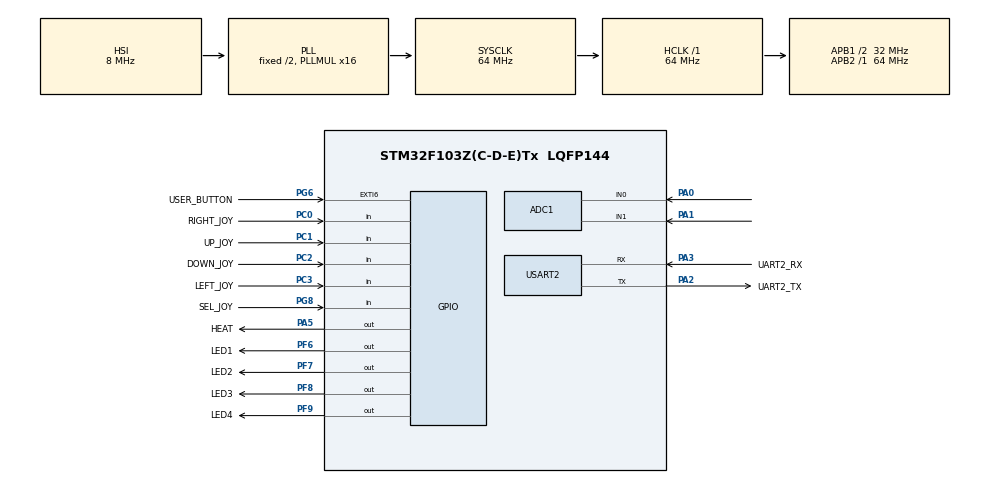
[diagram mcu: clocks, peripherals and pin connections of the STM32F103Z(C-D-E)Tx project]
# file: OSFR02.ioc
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ADC1.Channel-11\#ChannelRegularConversion=ADC_CHANNEL_0
ADC1.Channel-12\#ChannelRegularConversion=ADC_CHANNEL_1
ADC1.Channel-13\#ChannelRegularConversion=ADC_CHANNEL_TEMPSENSOR
ADC1.Channel-14\#ChannelRegularConversion=ADC_CHANNEL_VREFINT
ADC1.NbrOfConversion=4
ADC1.NbrOfConversionFlag=1
ADC1.Rank-11\#ChannelRegularConversion=1
ADC1.Rank-12\#ChannelRegularConversion=2
ADC1.Rank-13\#ChannelRegularConversion=3
ADC1.Rank-14\#ChannelRegularConversion=4
ADC1.SamplingTime-11\#ChannelRegularConversion=ADC_SAMPLETIME_28CYCLES_5
ADC1.SamplingTime-12\#ChannelRegularConversion=ADC_SAMPLETIME_28CYCLES_5
ADC1.SamplingTime-13\#ChannelRegularConversion=ADC_SAMPLETIME_41CYCLES_5
ADC1.SamplingTime-14\#ChannelRegularConversion=ADC_SAMPLETIME_41CYCLES_5
ADC1.master=1
Dma.ADC1.0.Direction=DMA_PERIPH_TO_MEMORY
Dma.ADC1.0.Instance=DMA1_Channel1
Dma.ADC1.0.MemDataAlignment=DMA_MDATAALIGN_HALFWORD
Dma.ADC1.0.MemInc=DMA_MINC_ENABLE
Dma.ADC1.0.Mode=DMA_CIRCULAR
Dma.ADC1.0.PeriphDataAlignment=DMA_PDATAALIGN_HALFWORD
Dma.ADC1.0.PeriphInc=DMA_PINC_DISABLE
Dma.ADC1.0.Priority=DMA_PRIORITY_LOW
Dma.Request0=ADC1
FREERTOS.BinarySemaphores01=keySem
FREERTOS.HEAP_NUMBER=1
FREERTOS.INCLUDE_eTaskGetState=1
FREERTOS.Mutexes01=mutex01
FREERTOS.Queues01=queue01,1,uint16_t,NULL,Dynamic,NULL,NULL
FREERTOS.Tasks01=led1Task,0,128,vLed1Task,Default,NULL,Dynamic,NULL,NULL;led2Task,0,128,vLed2Task,Default,NULL,Dynamic,NULL,NULL;led3Task,0,128,vLed3Task,Default,NULL,Dynamic,NULL,NULL;led4Task,0,128,vLed4Task,Default,NULL,Dynamic,NULL,NULL;printfTask,0,128,vPrintfTask,Default,NULL,Dynamic,NULL,NULL;sensor1Task,1,128,vSensor1Task,Default,NULL,Dynamic,NULL,NULL
FREERTOS.Timers01=timer01,Callback01,osTimerPeriodic,Default,NULL,Dynamic,NULL
FREERTOS.configTIMER_TASK_STACK_DEPTH=128
FREERTOS.configTOTAL_HEAP_SIZE=10240
FREERTOS.configUSE_TIMERS=1
FREERTOS.configUSE_TRACE_FACILITY=1
Mcu.Family=STM32F1
Mcu.Name=STM32F103Z(C-D-E)Tx
Mcu.Package=LQFP144
NVIC.DMA1_Channel1_IRQn=true\:5\:0\:false\:true\:true\:1\:true
NVIC.EXTI9_5_IRQn=true\:15\:0\:true\:true\:true\:2\:true
NVIC.PriorityGroup=NVIC_PRIORITYGROUP_4
NVIC.TIM7_IRQn=true\:0\:0\:false\:false\:true\:false
NVIC.TimeBase=TIM7_IRQn
NVIC.TimeBaseIP=TIM7
PA0-WKUP.Signal=ADCx_IN0
PA1.Signal=ADCx_IN1
PA13.Mode=Trace_Asynchronous_SW
PA13.Signal=SYS_JTMS-SWDIO
PA14.Mode=Trace_Asynchronous_SW
PA14.Signal=SYS_JTCK-SWCLK
PA2.GPIO_Label=UART2_TX
PA2.Mode=Asynchronous
PA2.Signal=USART2_TX
PA3.GPIO_Label=UART2_RX
PA3.Mode=Asynchronous
PA3.Signal=USART2_RX
PA5.GPIO_Label=HEAT
PA5.Signal=GPIO_Output
PB3.Mode=Trace_Asynchronous_SW
PB3.Signal=SYS_JTDO-TRACESWO
PC0.GPIO_Label=RIGHT_JOY
PC0.Signal=GPIO_Input
PC1.GPIO_Label=UP_JOY
PC1.Signal=GPIO_Input
PC2.GPIO_Label=DOWN_JOY
PC2.Signal=GPIO_Input
PC3.GPIO_Label=LEFT_JOY
PC3.Signal=GPIO_Input
PF6.GPIO_Label=LED1
PF6.Signal=GPIO_Output
PF7.GPIO_Label=LED2
PF7.Signal=GPIO_Output
PF8.GPIO_Label=LED3
PF8.Signal=GPIO_Output
PF9.GPIO_Label=LED4
PF9.Signal=GPIO_Output
PG6.GPIO_Label=USER_BUTTON
PG6.GPIO_ModeDefaultEXTI=GPIO_MODE_IT_FALLING
PG6.GPIO_PuPd=GPIO_PULLUP
PG6.Signal=GPXTI6
PG8.GPIO_Label=SEL_JOY
PG8.Signal=GPIO_Input
ProjectManager.HeapSize=0x200
ProjectManager.StackSize=0x400
ProjectManager.TargetToolchain=MDK-ARM V5
RCC.ADCPresc=RCC_ADCPCLK2_DIV6
RCC.AHBFreq_Value=64000000
RCC.APB1CLKDivider=RCC_HCLK_DIV2
RCC.APB1Freq_Value=32000000
RCC.APB1TimFreq_Value=64000000
RCC.APB2Freq_Value=64000000
RCC.APB2TimFreq_Value=64000000
RCC.HCLKFreq_Value=64000000
RCC.PLLMUL=RCC_PLL_MUL16
RCC.SYSCLKFreq_VALUE=64000000
RCC.SYSCLKSource=RCC_SYSCLKSOURCE_PLLCLK
RCC.USBFreq_Value=64000000
SH.ADCx_IN0.0=ADC1_IN0,IN0
SH.ADCx_IN1.0=ADC1_IN1,IN1
USART2.VirtualMode=VM_ASYNC
VP_ADC1_TempSens_Input.Mode=IN-TempSens
VP_ADC1_Vref_Input.Mode=IN-Vrefint
VP_FREERTOS_VS_ENABLE.Mode=Enabled
VP_SYS_VS_tim7.Mode=TIM7
board=OSFR02

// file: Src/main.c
/**
  ******************************************************************************
  * File Name          : main.c
  * Description        : Main program body
  ******************************************************************************
  * This notice applies to any and all portions of this file
  * that are not between comment pairs USER CODE BEGIN and
  * USER CODE END. Other portions of this file, whether
  * inserted by the user or by software development tools
  * are owned by their respective copyright owners.
  *
  * Copyright (c) 2017 STMicroelectronics International N.V.
  * All rights reserved.
  *
  * Redistribution and use in source and binary forms, with or without
  * modification, are permitted, provided that the following conditions are met:
  *
  * 1. Redistribution of source code must retain the above copyright notice,
  *    this list of conditions and the following disclaimer.
  * 2. Redistributions in binary form must reproduce the above copyright notice,
  *    this list of conditions and the following disclaimer in the documentation
  *    and/or other materials provided with the distribution.
  * 3. Neither the name of STMicroelectronics nor the names of other
  *    contributors to this software may be used to endorse or promote products
  *    derived from this software without specific written permission.
  * 4. This software, including modifications and/or derivative works of this
  *    software, must execute solely and exclusively on microcontroller or
  *    microprocessor devices manufactured by or for STMicroelectronics.
  * 5. Redistribution and use of this software other than as permitted under
  *    this license is void and will automatically terminate your rights under
  *    this license.
  *
  * THIS SOFTWARE IS PROVIDED BY STMICROELECTRONICS AND CONTRIBUTORS "AS IS"
  * AND ANY EXPRESS, IMPLIED OR STATUTORY WARRANTIES, INCLUDING, BUT NOT
  * LIMITED TO, THE IMPLIED WARRANTIES OF MERCHANTABILITY, FITNESS FOR A
  * PARTICULAR PURPOSE AND NON-INFRINGEMENT OF THIRD PARTY INTELLECTUAL PROPERTY
  * RIGHTS ARE DISCLAIMED TO THE FULLEST EXTENT PERMITTED BY LAW. IN NO EVENT
  * SHALL STMICROELECTRONICS OR CONTRIBUTORS BE LIABLE FOR ANY DIRECT, INDIRECT,
  * INCIDENTAL, SPECIAL, EXEMPLARY, OR CONSEQUENTIAL DAMAGES (INCLUDING, BUT NOT
  * LIMITED TO, PROCUREMENT OF SUBSTITUTE GOODS OR SERVICES; LOSS OF USE, DATA,
  * OR PROFITS; OR BUSINESS INTERRUPTION) HOWEVER CAUSED AND ON ANY THEORY OF
  * LIABILITY, WHETHER IN CONTRACT, STRICT LIABILITY, OR TORT (INCLUDING
  * NEGLIGENCE OR OTHERWISE) ARISING IN ANY WAY OUT OF THE USE OF THIS SOFTWARE,
  * EVEN IF ADVISED OF THE POSSIBILITY OF SUCH DAMAGE.
  *
  ******************************************************************************
  */
#include "main.h"
#include "stm32f1xx_hal.h"
#include "cmsis_os.h"
#include "adc.h"
#include "dma.h"
#include "usart.h"
#include "gpio.h"

/* USER CODE BEGIN Includes */
#include "open103z.h"
/* USER CODE END Includes */

/* USER CODE BEGIN PV */
/* Private variables ---------------------------------------------------------*/

/* USER CODE END PV */

void SystemClock_Config(void);
void MX_FREERTOS_Init(void);
static void MX_NVIC_Init(void);

/* USER CODE BEGIN PFP */
/* Private function prototypes -----------------------------------------------*/

/* USER CODE END PFP */

/* USER CODE BEGIN 0 */
  char character[10];
/* USER CODE END 0 */

int main(void)
{

  /* MCU Configuration----------------------------------------------------------*/

  /* Reset of all peripherals, Initializes the Flash interface and the Systick. */
  HAL_Init();

  /* Configure the system clock */
  SystemClock_Config();

  /* Initialize all configured peripherals */
  MX_GPIO_Init();
  MX_DMA_Init();
  MX_USART2_UART_Init();
  MX_ADC1_Init();

  /* Initialize interrupts */
  MX_NVIC_Init();

  /* USER CODE BEGIN 2 */
  BSP_LED_On(LED1);
  HAL_Delay(200);
  BSP_LED_On(LED2);
  HAL_Delay(200);
  BSP_LED_On(LED3);
  HAL_Delay(200);
  BSP_LED_On(LED4);
  HAL_Delay(200);
  BSP_LED_Off(LED1);
  HAL_Delay(200);
  BSP_LED_Off(LED2);
  HAL_Delay(200);
  BSP_LED_Off(LED3);
  HAL_Delay(200);
  BSP_LED_Off(LED4);
  HAL_Delay(200);
//  setvbuf(stdin, NULL, _IONBF, 0);
//  char c =getchar();
 // printf("I get:%c",c );
 // printf("Hello world!\n");

  /* Init only, trace starts later...*/
 // vTraceEnable(TRC_INIT);
 //snapshot trace starts /
  //vTraceEnable(TRC_START);
  /* stream trace */
  //vTraceEnable(TRC_INIT);
 // vTraceEnable(TRC_START_AWAIT_HOST);

//void vTraceStop(void)

  /* USER CODE END 2 */

  /* Call init function for freertos objects (in freertos.c) */
  MX_FREERTOS_Init();

  /* Start scheduler */
  osKernelStart();

  /* We should never get here as control is now taken by the scheduler */

  /* Infinite loop */
  while (1)
  {

  }

}

/** System Clock Configuration
*/
void SystemClock_Config(void)
{

  RCC_OscInitTypeDef RCC_OscInitStruct;
  RCC_ClkInitTypeDef RCC_ClkInitStruct;
  RCC_PeriphCLKInitTypeDef PeriphClkInit;

    /**Initializes the CPU, AHB and APB busses clocks
    */
  RCC_OscInitStruct.OscillatorType = RCC_OSCILLATORTYPE_HSI;
  RCC_OscInitStruct.HSIState = RCC_HSI_ON;
  RCC_OscInitStruct.HSICalibrationValue = 16;
  RCC_OscInitStruct.PLL.PLLState = RCC_PLL_ON;
  RCC_OscInitStruct.PLL.PLLSource = RCC_PLLSOURCE_HSI_DIV2;
  RCC_OscInitStruct.PLL.PLLMUL = RCC_PLL_MUL16;
  if (HAL_RCC_OscConfig(&RCC_OscInitStruct) != HAL_OK)
  {
    _Error_Handler(__FILE__, __LINE__);
  }

    /**Initializes the CPU, AHB and APB busses clocks
    */
  RCC_ClkInitStruct.ClockType = RCC_CLOCKTYPE_HCLK|RCC_CLOCKTYPE_SYSCLK
                              |RCC_CLOCKTYPE_PCLK1|RCC_CLOCKTYPE_PCLK2;
  RCC_ClkInitStruct.SYSCLKSource = RCC_SYSCLKSOURCE_PLLCLK;
  RCC_ClkInitStruct.AHBCLKDivider = RCC_SYSCLK_DIV1;
  RCC_ClkInitStruct.APB1CLKDivider = RCC_HCLK_DIV2;
  RCC_ClkInitStruct.APB2CLKDivider = RCC_HCLK_DIV1;

  if (HAL_RCC_ClockConfig(&RCC_ClkInitStruct, FLASH_LATENCY_2) != HAL_OK)
  {
    _Error_Handler(__FILE__, __LINE__);
  }

  PeriphClkInit.PeriphClockSelection = RCC_PERIPHCLK_ADC;
  PeriphClkInit.AdcClockSelection = RCC_ADCPCLK2_DIV6;
  if (HAL_RCCEx_PeriphCLKConfig(&PeriphClkInit) != HAL_OK)
  {
    _Error_Handler(__FILE__, __LINE__);
  }

    /**Configure the Systick interrupt time
    */
  HAL_SYSTICK_Config(HAL_RCC_GetHCLKFreq()/1000);

    /**Configure the Systick
    */
  HAL_SYSTICK_CLKSourceConfig(SYSTICK_CLKSOURCE_HCLK);

  /* SysTick_IRQn interrupt configuration */
  HAL_NVIC_SetPriority(SysTick_IRQn, 15, 0);
}

/** NVIC Configuration
*/
static void MX_NVIC_Init(void)
{
  /* DMA1_Channel1_IRQn interrupt configuration */
  HAL_NVIC_SetPriority(DMA1_Channel1_IRQn, 5, 0);
  HAL_NVIC_EnableIRQ(DMA1_Channel1_IRQn);
  /* EXTI9_5_IRQn interrupt configuration */
  HAL_NVIC_SetPriority(EXTI9_5_IRQn, 15, 0);
  HAL_NVIC_EnableIRQ(EXTI9_5_IRQn);
}

void HAL_TIM_PeriodElapsedCallback(TIM_HandleTypeDef *htim)
{
  if (htim->Instance == TIM7) {
    HAL_IncTick();
  }
}

void _Error_Handler(char * file, int line)
{
  while(1)
  {
  }
}

/************************ (C) COPYRIGHT STMicroelectronics *****END OF FILE****/

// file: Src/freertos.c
/**
  ******************************************************************************
  * File Name          : freertos.c
  * Description        : Code for freertos applications
  ******************************************************************************
  * This notice applies to any and all portions of this file
  * that are not between comment pairs USER CODE BEGIN and
  * USER CODE END. Other portions of this file, whether
  * inserted by the user or by software development tools
  * are owned by their respective copyright owners.
  *
  * Copyright (c) 2017 STMicroelectronics International N.V.
  * All rights reserved.
  *
  * Redistribution and use in source and binary forms, with or without
  * modification, are permitted, provided that the following conditions are met:
  *
  * 1. Redistribution of source code must retain the above copyright notice,
  *    this list of conditions and the following disclaimer.
  * 2. Redistributions in binary form must reproduce the above copyright notice,
  *    this list of conditions and the following disclaimer in the documentation
  *    and/or other materials provided with the distribution.
  * 3. Neither the name of STMicroelectronics nor the names of other
  *    contributors to this software may be used to endorse or promote products
  *    derived from this software without specific written permission.
  * 4. This software, including modifications and/or derivative works of this
  *    software, must execute solely and exclusively on microcontroller or
  *    microprocessor devices manufactured by or for STMicroelectronics.
  * 5. Redistribution and use of this software other than as permitted under
  *    this license is void and will automatically terminate your rights under
  *    this license.
  *
  * THIS SOFTWARE IS PROVIDED BY STMICROELECTRONICS AND CONTRIBUTORS "AS IS"
  * AND ANY EXPRESS, IMPLIED OR STATUTORY WARRANTIES, INCLUDING, BUT NOT
  * LIMITED TO, THE IMPLIED WARRANTIES OF MERCHANTABILITY, FITNESS FOR A
  * PARTICULAR PURPOSE AND NON-INFRINGEMENT OF THIRD PARTY INTELLECTUAL PROPERTY
  * RIGHTS ARE DISCLAIMED TO THE FULLEST EXTENT PERMITTED BY LAW. IN NO EVENT
  * SHALL STMICROELECTRONICS OR CONTRIBUTORS BE LIABLE FOR ANY DIRECT, INDIRECT,
  * INCIDENTAL, SPECIAL, EXEMPLARY, OR CONSEQUENTIAL DAMAGES (INCLUDING, BUT NOT
  * LIMITED TO, PROCUREMENT OF SUBSTITUTE GOODS OR SERVICES; LOSS OF USE, DATA,
  * OR PROFITS; OR BUSINESS INTERRUPTION) HOWEVER CAUSED AND ON ANY THEORY OF
  * LIABILITY, WHETHER IN CONTRACT, STRICT LIABILITY, OR TORT (INCLUDING
  * NEGLIGENCE OR OTHERWISE) ARISING IN ANY WAY OUT OF THE USE OF THIS SOFTWARE,
  * EVEN IF ADVISED OF THE POSSIBILITY OF SUCH DAMAGE.
  *
  ******************************************************************************
  */

#include "FreeRTOS.h"
#include "task.h"
#include "cmsis_os.h"

/* USER CODE BEGIN Includes */
#include "adc.h"
#include "solder.h"
#include "usart.h"
#include "stdio.h"
#include "open103z.h"
/* USER CODE END Includes */

osThreadId led1TaskHandle;
osThreadId led2TaskHandle;
osThreadId led3TaskHandle;
osThreadId led4TaskHandle;
osThreadId printfTaskHandle;
osThreadId sensor1TaskHandle;
osMessageQId queue01Handle;
osTimerId timer01Handle;
osMutexId mutex01Handle;
osSemaphoreId keySemHandle;

/* USER CODE BEGIN Variables */

// used to detect and latch errors */
__IO uint32_t HighPriorityThreadCycles = 0, MediumPriorityThreadCycles = 0, LowPriorityThreadCycles = 0;
uint32_t ProducerValue = 0, ConsumerValue = 0;
char  cPrint[1024];
volatile uint16_t uiADC[10];
char  cGetChar[1024];
osMessageQId osQueue;
#define QUEUE_SIZE        (uint32_t) 1
/* The number of items the queue can hold.  This is 1 as the Rx task will
remove items as they are added so the Tx task should always find the queue
empty. */
#define QUEUE_LENGTH             (1)

/* The rate at which the Tx task sends to the queue. */
#define TX_DELAY                 (500)

/* The value that is sent from the Tx task to the Rx task on the queue. */
#define QUEUED_VALUE             (100)

/* The length of time the LED will remain on for.  It is on just long enough
to be able to see with the human eye so as not to distort the power readings too
much. */
#define LED_TOGGLE_DELAY         (20)
/* USER CODE END Variables */

void vLed1Task(void const * argument);
void vLed2Task(void const * argument);
void vLed3Task(void const * argument);
void vLed4Task(void const * argument);
void vPrintfTask(void const * argument);
void vSensor1Task(void const * argument);
void Callback01(void const * argument);

void MX_FREERTOS_Init(void); /* (MISRA C 2004 rule 8.1) */

/* USER CODE BEGIN FunctionPrototypes */

/* Private typedef -----------------------------------------------------------*/
/* Private define ------------------------------------------------------------*/
#define VDD_APPLI                      ((uint32_t) 3300)   /* Value of analog voltage supply Vdda (unit: mV) */
#define RANGE_12BITS                   ((uint32_t) 4095)   /* Max value with a full range of 12 bits */
#define USERBUTTON_CLICK_COUNT_MAX     ((uint32_t)    4)   /* Maximum value of variable "UserButtonClickCount" */

#define ADCCONVERTEDVALUES_BUFFER_SIZE ((uint32_t)    3)   /* Size of array containing ADC converted values: set to ADC sequencer number of ranks converted, to have a rank in each address */

/* Internal temperature sensor: constants data used for indicative values in  */
/* this example. Refer to device datasheet for min/typ/max values.            */
/* For more accurate values, device should be calibrated on offset and slope  */
/* for application temperature range.                                         */
#define INTERNAL_TEMPSENSOR_V25        ((int32_t)1430)         /* Internal temperature sensor, parameter V25 (unit: mV). Refer to device datasheet for min/typ/max values. */
#define INTERNAL_TEMPSENSOR_AVGSLOPE   ((int32_t)4300)         /* Internal temperature sensor, parameter Avg_Slope (unit: uV/DegCelsius). Refer to device datasheet for min/typ/max values. */                                                               /* This calibration parameter is intended to calculate the actual VDDA from Vrefint ADC measurement. */

#define mutexSHORT_DELAY     ((uint32_t) 20)
#define mutexNO_DELAY        ((uint32_t) 0)
#define mutexTWO_TICK_DELAY  ((uint32_t) 2)

/* Private macro -------------------------------------------------------------*/

/**
  * @brief  Computation of temperature (unit: degree Celsius) from the internal
  *         temperature sensor measurement by ADC.
  *         Computation is using temperature sensor standard parameters (refer
  *         to device datasheet).
  *         Computation formula:
  *         Temperature = (VTS - V25)/Avg_Slope + 25
  *         with VTS = temperature sensor voltage
  *              Avg_Slope = temperature sensor slope (unit: uV/DegCelsius)
  *              V25 = temperature sensor @25degC and Vdda 3.3V (unit: mV)
  *         Calculation validity conditioned to settings:
  *          - ADC resolution 12 bits (need to scale value if using a different
  *            resolution).
  *          - Power supply of analog voltage Vdda 3.3V (need to scale value
  *            if using a different analog voltage supply value).
  * @param TS_ADC_DATA: Temperature sensor digital value measured by ADC
  * @retval None
  */
#define COMPUTATION_TEMPERATURE_STD_PARAMS(TS_ADC_DATA)                        \
  ((((int32_t)(INTERNAL_TEMPSENSOR_V25 - (((TS_ADC_DATA) * VDD_APPLI) / RANGE_12BITS)   \
     ) * 1000                                                                  \
    ) / INTERNAL_TEMPSENSOR_AVGSLOPE                                           \
   ) + 25                                                                      \
  )

/**
  * @brief  Computation of voltage (unit: mV) from ADC measurement digital
  *         value on range 12 bits.
  *         Calculation validity conditioned to settings:
  *          - ADC resolution 12 bits (need to scale value if using a different
  *            resolution).
  *          - Power supply of analog voltage Vdda 3.3V (need to scale value
  *            if using a different analog voltage supply value).
  * @param ADC_DATA: Digital value measured by ADC
  * @retval None
  */
#define COMPUTATION_DIGITAL_12BITS_TO_VOLTAGE(ADC_DATA)                        \
  ( (ADC_DATA) * VDD_APPLI / RANGE_12BITS)
/* USER CODE END FunctionPrototypes */

/* Hook prototypes */

/* Init FreeRTOS */

void MX_FREERTOS_Init(void) {

  /* Create the mutex(es) */
  /* definition and creation of mutex01 */
  osMutexDef(mutex01);
  mutex01Handle = osMutexCreate(osMutex(mutex01));

  /* Create the semaphores(s) */
  /* definition and creation of keySem */
  osSemaphoreDef(keySem);
  keySemHandle = osSemaphoreCreate(osSemaphore(keySem), 1);

  /* Create the timer(s) */
  /* definition and creation of timer01 */
  osTimerDef(timer01, Callback01);
  timer01Handle = osTimerCreate(osTimer(timer01), osTimerPeriodic, NULL);

  /* USER CODE BEGIN RTOS_TIMERS */
  /* start timers, add new ones, ... */
//   osTimerStart(timer01Handle, 200);
  /* USER CODE END RTOS_TIMERS */

  /* Create the thread(s) */
  /* definition and creation of led1Task */
  osThreadDef(led1Task, vLed1Task, osPriorityNormal, 0, 128);
  led1TaskHandle = osThreadCreate(osThread(led1Task), NULL);

  /* definition and creation of led2Task */
  osThreadDef(led2Task, vLed2Task, osPriorityNormal, 0, 128);
  led2TaskHandle = osThreadCreate(osThread(led2Task), NULL);

  /* definition and creation of led3Task */
//  osThreadDef(led3Task, vLed3Task, osPriorityNormal, 0, 128);
//  led3TaskHandle = osThreadCreate(osThread(led3Task), NULL);

//  /* definition and creation of led4Task */
//  osThreadDef(led4Task, vLed4Task, osPriorityNormal, 0, 128);
//  led4TaskHandle = osThreadCreate(osThread(led4Task), NULL);

//  /* definition and creation of printfTask */
//  osThreadDef(printfTask, vPrintfTask, osPriorityNormal, 0, 128);
//  printfTaskHandle = osThreadCreate(osThread(printfTask), NULL);

//  /* definition and creation of sensor1Task */
//  osThreadDef(sensor1Task, vSensor1Task, osPriorityAboveNormal, 0, 128);
//  sensor1TaskHandle = osThreadCreate(osThread(sensor1Task), NULL);

  /* USER CODE BEGIN RTOS_THREADS */
//  /* add threads, ... */
  /* USER CODE END RTOS_THREADS */

  /* Create the queue(s) */
  /* definition and creation of queue01 */
  osMessageQDef(queue01, 1, uint16_t);
  queue01Handle = osMessageCreate(osMessageQ(queue01), NULL);

}

/* vLed1Task function */
void vLed1Task(void const * argument)
{

  /* USER CODE BEGIN vLed1Task */
  //this task is producer
  /* Infinite loop */
  for (;;)
  {
    /* Place this thread into the blocked state until it is time to run again.
       The kernel will place the MCU into the Retention low power sleep state
       when the idle thread next runs. */
    osDelay(TX_DELAY);

    /* Send to the queue - causing the queue receive thread to flash its LED.
       It should not be necessary to block on the queue send because the Rx
       thread will already have removed the last queued item. */
    osMessagePut(queue01Handle, (uint32_t)QUEUED_VALUE, 0);
  }
  /* USER CODE END vLed1Task */
}

/* vLed2Task function */
void vLed2Task(void const * argument)
{
  /* USER CODE BEGIN vLed2Task */
  //this task is consumer
  osEvent event;
  /* Infinite loop */
  for (;;)
  {
    /* Wait until something arrives in the queue. */
    event = osMessageGet(queue01Handle, osWaitForever);

    /*  To get here something must have arrived, but is it the expected
    value?  If it is, turn the LED on for a short while. */
    if (event.status == osEventMessage)
    {
      if (event.value.v == QUEUED_VALUE)
      {
        BSP_LED_On(LED1);
        BSP_LED_On(LED2);
        BSP_LED_On(LED3);
        BSP_LED_On(LED4);
        osDelay(LED_TOGGLE_DELAY);
        BSP_LED_Off(LED1);
        BSP_LED_Off(LED2);
        BSP_LED_Off(LED3);
        BSP_LED_Off(LED4);
      }
    }
  }
  /* USER CODE END vLed2Task */
}

/* vLed3Task function */
void vLed3Task(void const * argument)
{
  /* USER CODE BEGIN vLed3Task */
  (void) argument;
  /* Infinite loop */
  for (;;)
  {
    /* Keep attempting to obtain the mutex.  We should only obtain it when
    the medium-priority thread has suspended itself, which in turn should only
    happen when the high-priority thread is also suspended */
    if (osMutexWait(mutex01Handle, 0) == osOK)
    {
      /* Is the haigh and medium-priority threads suspended? */
      if ((osThreadGetState(led1TaskHandle) != osThreadSuspended) || (osThreadGetState(led2TaskHandle) != osThreadSuspended))
      {
        /* Toggle LED3 to indicate error */
        BSP_LED_Toggle(LED3);
      }
      else
      {
        /* Keep count of the number of cycles this task has performed
        so a stall can be detected */
        LowPriorityThreadCycles++;

        /* We can resume the other tasks here even though they have a
        higher priority than the this thread. When they execute they
        will attempt to obtain the mutex but fail because the low-priority
        thread is still the mutex holder.  this thread will then inherit
        the higher priority.  The medium-priority thread will block indefinitely
        when it attempts to obtain the mutex, the high-priority thread will only
        block for a fixed period and an error will be latched if the
        high-priority thread has not returned the mutex by the time this
        fixed period has expired */
        osThreadResume(led2TaskHandle);
        osThreadResume(led1TaskHandle);

        /* The other two tasks should now have executed and no longer
        be suspended */
        if ((osThreadGetState(led1TaskHandle) == osThreadSuspended) || (osThreadGetState(led2TaskHandle) == osThreadSuspended))
        {
          /* Toggle LED3 to indicate error */
          BSP_LED_Toggle(LED3);
        }

        /* Release the mutex, disinheriting the higher priority again */
        if (osMutexRelease(mutex01Handle) != osOK)
        {
          /* Toggle LED3 to indicate error */
          BSP_LED_Toggle(LED3);
        }
      }
    }
    #if configUSE_PREEMPTION == 0
    {
      taskYIELD();
    }
#endif
  }
  /* USER CODE END vLed3Task */
}

/* vLed4Task function */
void vLed4Task(void const * argument)
{
  /* USER CODE BEGIN vLed4Task */
  /* Infinite loop */
  for(;;)
  {
    BSP_LED_Toggle(LED4);
    osDelay(100);
  }
  /* USER CODE END vLed4Task */
}

/* vPrintfTask function */
void vPrintfTask(void const * argument)
{
  /* USER CODE BEGIN vPrintfTask */
  /* Infinite loop */
  for(;;)
  {
    //temperature uiADC[2]

    //VOL  uiADC[3]
//    printf("Temperature now: %d \n",COMPUTATION_TEMPERATURE_STD_PARAMS(uiADC[2]));
//    printf("voltage now: %d \n",COMPUTATION_DIGITAL_12BITS_TO_VOLTAGE(uiADC[3]));
//    printf("Temperature now: %d \n",(uiADC[0]));
//    printf("voltage now: %d \n",(uiADC[3]));
    printf("realTemp: %d \n",realTemp);
//    char _ok[] = "OK";
//    HAL_StatusTypeDef state;
//    state = HAL_UART_Transmit_IT(&huart2,(uint8_t *)_ok, 1) ;
//    if (state  != HAL_OK)
//    {
//       traceString UART_Error = xTraceRegisterString("UART_STATE");
//       vTracePrintF(UART_Error,"ERROR %d",state);
//    }
    osDelay(500);

  }
  /* USER CODE END vPrintfTask */
}

/* vSensor1Task function */
void vSensor1Task(void const * argument)
{
  /* USER CODE BEGIN vSensor1Task */
  /* Infinite loop */
     /* Start ADC conversion on regular group with transfer by DMA */
if (HAL_ADC_Start_DMA(&hadc1,
                        (uint32_t *)uiADC,
                        4
                       ) != HAL_OK)
  {
    /* Start Error */
    Error_Handler();
  }
  /* Infinite loop */
  for(;;)
  {
    HAL_ADC_Start(&hadc1);
    HAL_ADC_PollForConversion(&hadc1,0xff);
    vTempCtrl(uiADC[0]);
//    uiADC = HAL_ADC_GetValue(&hadc1);
    osDelay(1);
  }
  /* USER CODE END vSensor1Task */
}

/* Callback01 function */
void Callback01(void const * argument)
{
  /* USER CODE BEGIN Callback01 */
   BSP_LED_Toggle(LED1);
  /* USER CODE END Callback01 */
}

/* USER CODE BEGIN Application */
/**
  * @brief  Pre Sleep Processing
  * @param  ulExpectedIdleTime: Expected time in idle state
  * @retval None
  */
void PreSleepProcessing(uint32_t * ulExpectedIdleTime)
{
  /* Called by the kernel before it places the MCU into a sleep mode because
  configPRE_SLEEP_PROCESSING() is #defined to PreSleepProcessing().

  NOTE:  Additional actions can be taken here to get the power consumption
  even lower.  For example, peripherals can be turned off here, and then back
  on again in the post sleep processing function.  For maximum power saving
  ensure all unused pins are in their lowest power state. */

  /*
    (*ulExpectedIdleTime) is set to 0 to indicate that PreSleepProcessing contains
    its own wait for interrupt or wait for event instruction and so the kernel vPortSuppressTicksAndSleep
    function does not need to execute the wfi instruction
  */
  *ulExpectedIdleTime = 0;

  /*Enter to sleep Mode using the HAL function HAL_PWR_EnterSLEEPMode with WFI instruction*/
  HAL_PWR_EnterSLEEPMode(PWR_MAINREGULATOR_ON, PWR_SLEEPENTRY_WFI);
}

/**
  * @brief  Post Sleep Processing
  * @param  ulExpectedIdleTime: Not used
  * @retval None
  */
void PostSleepProcessing(uint32_t * ulExpectedIdleTime)
{
  /* Called by the kernel when the MCU exits a sleep mode because
  configPOST_SLEEP_PROCESSING is #defined to PostSleepProcessing(). */

  /* Avoid compiler warnings about the unused parameter. */
  (void) ulExpectedIdleTime;
}
/* USER CODE END Application */

/************************ (C) COPYRIGHT STMicroelectronics *****END OF FILE****/
